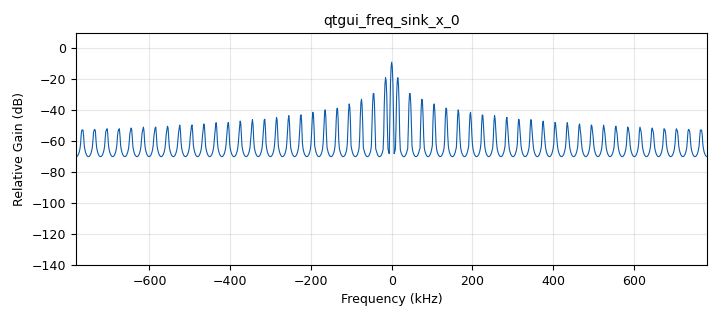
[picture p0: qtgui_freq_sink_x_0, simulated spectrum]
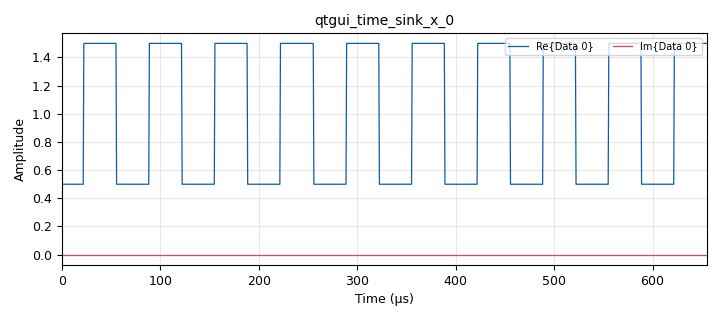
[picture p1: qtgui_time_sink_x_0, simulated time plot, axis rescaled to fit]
options:
  parameters:
    author: lab comu2 grupo 5
    generate_options: qt_gui
    id: Modulacion_ASK
    output_language: python
    title: Sindy Chapeta, Diego Calderon
  states: {}

blocks:
- name: Ac
  id: variable_qtgui_range
  parameters:
    label: Amplitud de la portadora
    start: '0'
    step: '0.1'
    stop: '2'
    value: '1'
  states: {}
- name: GTX
  id: variable_qtgui_range
  parameters:
    label: ganancia del TX
    start: '0'
    step: '1'
    stop: '30'
    value: '0'
  states: {}
- name: fc
  id: variable_qtgui_range
  parameters:
    label: frecuencia de portadora
    start: 50e6
    step: 1e6
    stop: 2200e6
    value: 50e6
  states: {}
- name: ka
  id: variable_qtgui_range
  parameters:
    label: coeficiente de sensibilidad ka
    start: '0'
    step: '0.1'
    stop: '2'
    value: '1'
  states: {}
- name: samp_rate
  id: variable
  parameters:
    value: 1.5625e6
  states: {}
- name: analog_sig_source_x_0
  id: analog_sig_source_x
  parameters:
    amp: '1'
    freq: 15e3
    offset: '-0.5'
    phase: '0'
    samp_rate: samp_rate
    type: float
    waveform: analog.GR_SQR_WAVE
  states: {}
- name: blocks_add_const_vxx_0
  id: blocks_add_const_vxx
  parameters:
    const: '1'
    type: float
  states: {}
- name: blocks_float_to_complex_0
  id: blocks_float_to_complex
  parameters: {}
  states: {}
- name: blocks_multiply_const_vxx_0
  id: blocks_multiply_const_vxx
  parameters:
    const: ka
    type: float
  states: {}
- name: blocks_multiply_const_vxx_0_0
  id: blocks_multiply_const_vxx
  parameters:
    const: Ac
    type: complex
  states: {}
- name: blocks_null_source_0
  id: blocks_null_source
  parameters:
    type: float
  states: {}
- name: qtgui_freq_sink_x_0
  id: qtgui_freq_sink_x
  parameters:
    bw: samp_rate
    fc: '0'
    fftsize: '1024'
    type: complex
  states: {}
- name: qtgui_time_sink_x_0
  id: qtgui_time_sink_x
  parameters:
    size: '1024'
    srate: samp_rate
    type: complex
  states: {}
- name: uhd_usrp_sink_0
  id: uhd_usrp_sink
  parameters:
    ant0: '"TX/RX"'
    center_freq0: fc
    gain0: GTX
    samp_rate: samp_rate
    sync: pc_clock
    type: fc32
  states: {}

connections:
- [analog_sig_source_x_0, '0', blocks_multiply_const_vxx_0, '0']
- [blocks_add_const_vxx_0, '0', blocks_float_to_complex_0, '0']
- [blocks_float_to_complex_0, '0', blocks_multiply_const_vxx_0_0, '0']
- [blocks_multiply_const_vxx_0, '0', blocks_add_const_vxx_0, '0']
- [blocks_multiply_const_vxx_0_0, '0', qtgui_freq_sink_x_0, '0']
- [blocks_multiply_const_vxx_0_0, '0', qtgui_time_sink_x_0, '0']
- [blocks_multiply_const_vxx_0_0, '0', uhd_usrp_sink_0, '0']
- [blocks_null_source_0, '0', blocks_float_to_complex_0, '1']

metadata:
  file_format: 1
